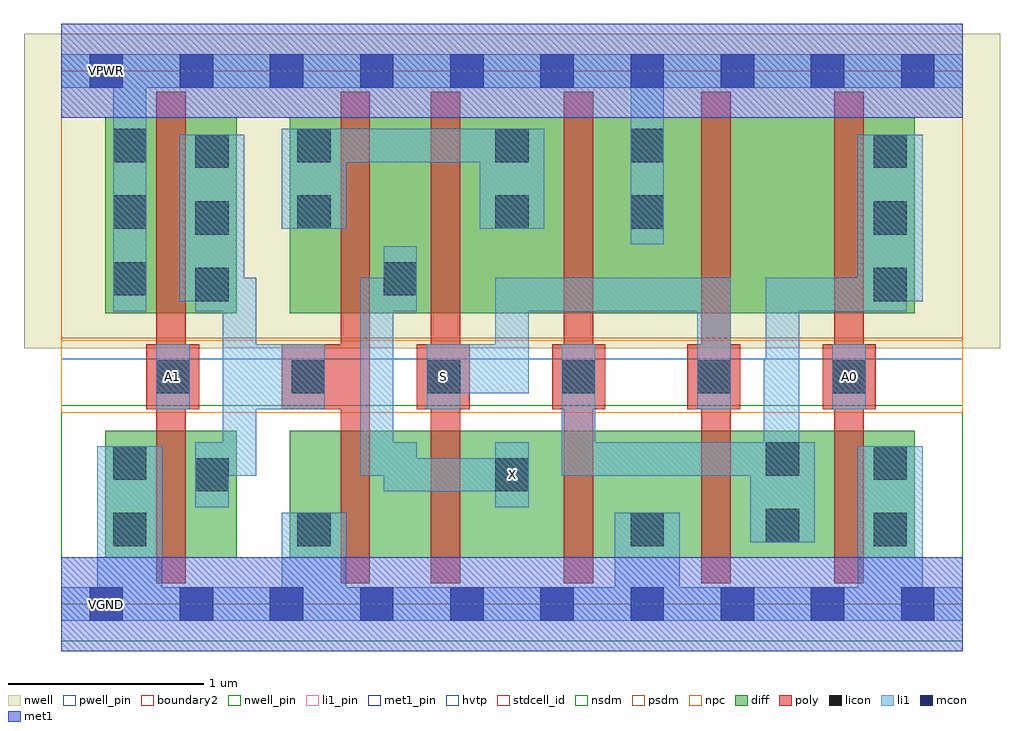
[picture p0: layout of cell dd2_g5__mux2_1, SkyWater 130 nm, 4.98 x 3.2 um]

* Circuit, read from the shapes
.subckt dd2_g5__mux2_1 A0 A1 S VGND VNB VPB VPWR X
XM1 n1 A1 VGND VNB sky130_fd_pr__nfet_01v8 w=0.65 l=0.15
XM2 n2 n1 VGND VNB sky130_fd_pr__nfet_01v8 w=0.65 l=0.15
XM3 X S n2 VNB sky130_fd_pr__nfet_01v8 w=0.65 l=0.15
XM4 VGND n3 X VNB sky130_fd_pr__nfet_01v8 w=0.65 l=0.15
XM5 n3 S VGND VNB sky130_fd_pr__nfet_01v8 w=0.65 l=0.15
XM6 VGND A0 n3 VNB sky130_fd_pr__nfet_01v8 w=0.65 l=0.15
XM7 n1 A1 VPWR VPB sky130_fd_pr__pfet_01v8_hvt w=1 l=0.15
XM8 X n1 n4 VPB sky130_fd_pr__pfet_01v8_hvt w=1 l=0.15
XM9 n4 S X VPB sky130_fd_pr__pfet_01v8_hvt w=1 l=0.15
XM10 VPWR n3 n4 VPB sky130_fd_pr__pfet_01v8_hvt w=1 l=0.15
XM11 n5 S VPWR VPB sky130_fd_pr__pfet_01v8_hvt w=1 l=0.15
XM12 n3 A0 n5 VPB sky130_fd_pr__pfet_01v8_hvt w=1 l=0.15
.ends

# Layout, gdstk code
import gdstk
lib = gdstk.Library(unit=1e-6, precision=1e-09)
def R(c, l, rs):  # rectangles x0, y0, x1, y1
    for r in rs: c.add(gdstk.rectangle(r[:2], r[2:], *l))
def A(c, l, x, y, w, h, nx, ny, dx, dy):  # array of equal rectangles
    R(c, l, [(x+i*dx, y+j*dy, x+i*dx+w, y+j*dy+h) for i in range(nx) for j in range(ny)])
nwell_pin = (64, 16)
nwell = (64, 20)
diff = (65, 20)
poly = (66, 20)
licon = (66, 44)
li1_pin = (67, 16)
li1 = (67, 20)
mcon = (67, 44)
met1_pin = (68, 16)
met1 = (68, 20)
hvtp = (78, 44)
stdcell_id = (81, 4)
nsdm = (93, 44)
psdm = (94, 20)
npc = (95, 20)
pwell_pin = (122, 16)
boundary2 = (236, 0)

dd2_g5__mux2_1 = lib.new_cell('dd2_g5__mux2_1')
R(dd2_g5__mux2_1, nwell_pin, [(0.145,2.635,0.315,2.805)])
R(dd2_g5__mux2_1, nwell, [(-0.19,1.305,4.79,2.91)])
R(dd2_g5__mux2_1, diff, [(0.225,0.235,0.895,0.885), (1.165,0.235,1.96,0.885), (1.5,0.235,2.64,0.885), (1.96,0.235,3.34,0.885), (2.64,0.235,4.02,0.885), (3.34,0.235,4.355,0.885), (0.225,1.485,0.895,2.485), (1.165,1.485,1.96,2.485), (1.5,1.485,2.64,2.485), (1.96,1.485,3.34,2.485), (2.64,1.485,4.02,2.485), (3.34,1.485,4.355,2.485)])
A(dd2_g5__mux2_1, poly, 1.815, 0.995, 0.27, 0.33, 4, 1, 0.69, 0)
R(dd2_g5__mux2_1, poly, [(0.485,0.105,0.635,2.615), (1.425,0.105,1.575,2.615), (1.885,0.105,2.035,2.615), (2.565,0.105,2.715,2.615), (3.265,0.105,3.415,2.615), (3.945,0.105,4.095,2.615), (0.435,0.995,0.705,1.325), (1.125,0.995,1.575,1.325)])
A(dd2_g5__mux2_1, licon, 0.485, 1.075, 0.17, 0.17, 6, 1, 0.69, 0)
A(dd2_g5__mux2_1, licon, 0.685, 1.545, 0.17, 0.17, 1, 3, 0, 0.34)
A(dd2_g5__mux2_1, licon, 4.145, 1.545, 0.17, 0.17, 1, 3, 0, 0.34)
A(dd2_g5__mux2_1, licon, 0.265, 1.575, 0.17, 0.17, 1, 3, 0, 0.34)
R(dd2_g5__mux2_1, licon, [(0.265,0.295,0.435,0.465), (1.205,0.295,1.375,0.465), (2.905,0.295,3.075,0.465), (4.145,0.295,4.315,0.465), (3.595,0.315,3.765,0.485), (0.685,0.575,0.855,0.745), (2.215,0.575,2.385,0.745), (0.265,0.635,0.435,0.805), (4.145,0.635,4.315,0.805), (3.595,0.655,3.765,0.825), (1.645,1.575,1.815,1.745), (1.205,1.915,1.375,2.085), (2.215,1.915,2.385,2.085), (2.905,1.915,3.075,2.085), (1.205,2.255,1.375,2.425), (2.215,2.255,2.385,2.425), (2.905,2.255,3.075,2.425)])
A(dd2_g5__mux2_1, li1_pin, 0.495, 1.085, 0.15, 0.15, 3, 1, 1.38, 0)
R(dd2_g5__mux2_1, li1_pin, [(0.145,-0.085,0.315,0.085), (2.225,0.585,2.375,0.735), (3.945,1.085,4.095,1.235), (0.145,2.635,0.315,2.805)])
R(dd2_g5__mux2_1, li1, [(0,-0.085,4.6,0.085), (0.185,0.085,0.515,0.805), (1.125,0.085,1.455,0.465), (2.825,0.085,3.155,0.465), (4.065,0.085,4.395,0.805), (3.515,0.315,3.845,0.655), (0.685,0.495,0.855,0.655), (2.215,0.495,2.385,0.575), (1.645,0.575,2.385,0.655), (0.685,0.655,0.995,0.825), (1.525,0.655,2.385,0.745), (2.555,0.655,3.845,0.825), (1.525,0.745,1.815,0.825), (2.215,0.745,2.385,0.825), (0.825,0.825,0.995,0.995), (1.525,0.825,1.695,1.495), (2.555,0.825,2.725,1.325), (3.585,0.825,3.765,1.245), (0.485,0.995,0.655,1.325), (0.825,0.995,1.345,1.325), (1.865,0.995,2.035,1.075), (3.245,0.995,3.415,1.495), (3.935,0.995,4.105,1.325), (1.865,1.075,2.385,1.325), (3.595,1.245,3.765,1.495), (0.825,1.325,0.995,1.495), (2.215,1.325,2.385,1.495), (0.265,1.495,0.435,2.635), (0.685,1.495,0.995,1.545), (1.525,1.495,1.815,1.665), (2.215,1.495,3.415,1.665), (3.595,1.495,4.315,1.545), (0.605,1.545,0.995,1.665), (3.595,1.545,4.395,1.665), (0.605,1.665,0.935,2.395), (1.645,1.665,1.815,1.825), (4.065,1.665,4.395,2.395), (2.905,1.835,3.075,2.635), (1.125,1.915,1.455,2.255), (2.135,1.915,2.465,2.255), (1.125,2.255,2.465,2.425), (0,2.635,4.6,2.805)])
A(dd2_g5__mux2_1, mcon, 0.145, -0.085, 0.17, 0.17, 10, 2, 0.46, 2.72)
R(dd2_g5__mux2_1, met1_pin, [(0.145,-0.085,0.315,0.085), (0.145,2.635,0.315,2.805)])
R(dd2_g5__mux2_1, met1, [(0,-0.24,4.6,0.24), (0,2.48,4.6,2.96)])
R(dd2_g5__mux2_1, hvtp, [(0,1.25,4.6,2.72)])
R(dd2_g5__mux2_1, stdcell_id, [(0,0,4.6,2.72)])
R(dd2_g5__mux2_1, nsdm, [(0,-0.19,4.6,1.015)])
R(dd2_g5__mux2_1, psdm, [(0,1.355,4.6,2.91)])
R(dd2_g5__mux2_1, npc, [(0,0.975,4.6,1.345)])
R(dd2_g5__mux2_1, pwell_pin, [(0.145,-0.085,0.315,0.085)])
R(dd2_g5__mux2_1, boundary2, [(0,0,4.6,2.72)])
dd2_g5__mux2_1.add(gdstk.Label('VPWR', (0.23,2.72), layer=68, texttype=5))
dd2_g5__mux2_1.add(gdstk.Label('VGND', (0.23,0), layer=68, texttype=5))
dd2_g5__mux2_1.add(gdstk.Label('VPWR', (0.23,2.72), layer=67, texttype=5))
dd2_g5__mux2_1.add(gdstk.Label('VGND', (0.23,0), layer=67, texttype=5))
dd2_g5__mux2_1.add(gdstk.Label('A0', (4.02,1.16), layer=67, texttype=5))
dd2_g5__mux2_1.add(gdstk.Label('A1', (0.57,1.16), layer=67, texttype=5))
dd2_g5__mux2_1.add(gdstk.Label('S', (1.95,1.16), layer=67, texttype=5))
dd2_g5__mux2_1.add(gdstk.Label('X', (2.3,0.66), layer=67, texttype=5))
dd2_g5__mux2_1.add(gdstk.Label('VPB', (0.23,2.72), layer=64, texttype=5))
dd2_g5__mux2_1.add(gdstk.Label('VNB', (0.23,0), layer=64, texttype=59))

lib.write_gds('dd2_g5__mux2_1.gds')
